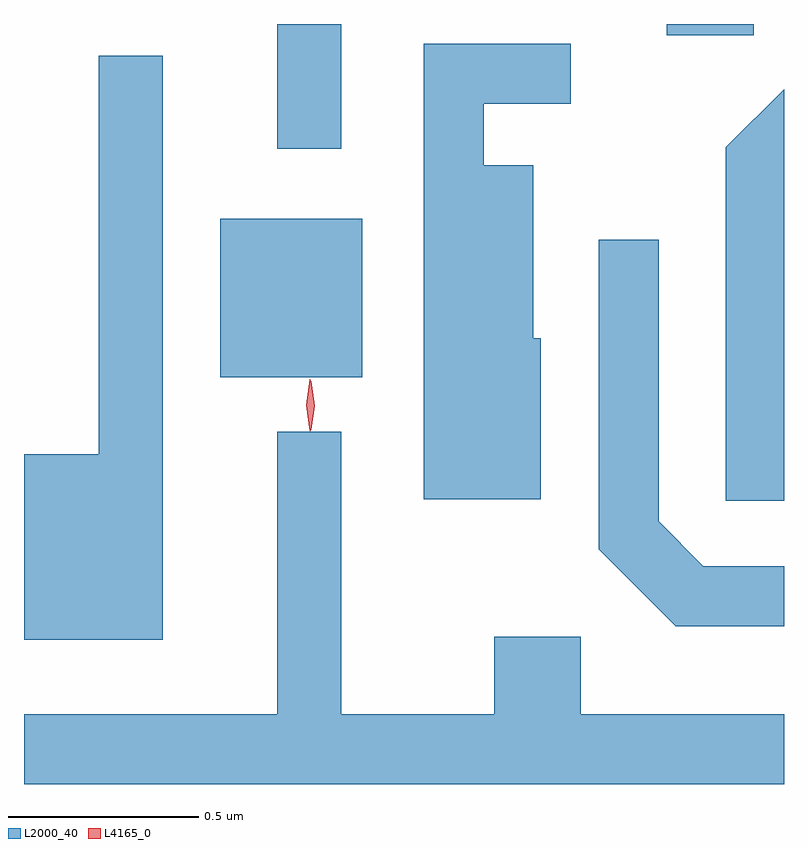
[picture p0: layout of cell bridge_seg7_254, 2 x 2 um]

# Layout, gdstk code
import gdstk
lib = gdstk.Library(unit=1e-6, precision=1e-09)
def R(c, l, rs):  # rectangles x0, y0, x1, y1
    for r in rs: c.add(gdstk.rectangle(r[:2], r[2:], *l))
def P(c, l, *ps):  # polygons
    for p in ps: c.add(gdstk.Polygon(p, *l))
L2000_40 = (2000, 40)
L4165_0 = (4165, 0)

bridge_seg7_254 = lib.new_cell('bridge_seg7_254')
R(bridge_seg7_254, L2000_40, [(1748.771,1711.031,1749.144,1711.449), (1748.921,1711.633,1749.089,1711.961), (1749.946,1711.931,1750.174,1711.961)])
P(bridge_seg7_254, L2000_40, [(1749.614,1711.134),(1749.594,1711.134),(1749.594,1711.589),(1749.464,1711.589),(1749.464,1711.751),(1749.693,1711.751),(1749.693,1711.909),(1749.306,1711.909),(1749.306,1710.711),(1749.614,1710.711)],
  [(1748.619,1711.878),(1748.451,1711.878),(1748.451,1710.829),(1748.254,1710.829),(1748.254,1710.341),(1748.619,1710.341)],
  [(1750.254,1711.789),(1750.101,1711.637),(1750.101,1710.706),(1750.254,1710.706)],
  [(1750.254,1710.534),(1750.042,1710.534),(1749.924,1710.652),(1749.924,1711.393),(1749.766,1711.393),(1749.766,1710.579),(1749.969,1710.376),(1750.254,1710.376)],
  [(1750.254,1710.144),(1749.719,1710.144),(1749.719,1710.349),(1749.491,1710.349),(1749.491,1710.144),(1749.089,1710.144),(1749.089,1710.888),(1748.921,1710.888),(1748.921,1710.144),(1748.254,1710.144),(1748.254,1709.961),(1750.254,1709.961)])
P(bridge_seg7_254, L4165_0, [(1749.007,1710.889),(1749.006,1710.89),(1748.997,1710.958),(1749.006,1711.026),(1749.007,1711.026),(1749.007,1711.026),(1749.017,1710.958),(1749.007,1710.89)],
  [(1749.009,1710.892),(1749.009,1710.893),(1748.999,1710.957),(1749.009,1711.021),(1749.009,1711.022),(1749.01,1711.021),(1749.019,1710.957),(1749.01,1710.893)])

lib.write_gds('bridge_seg7_254.gds')
